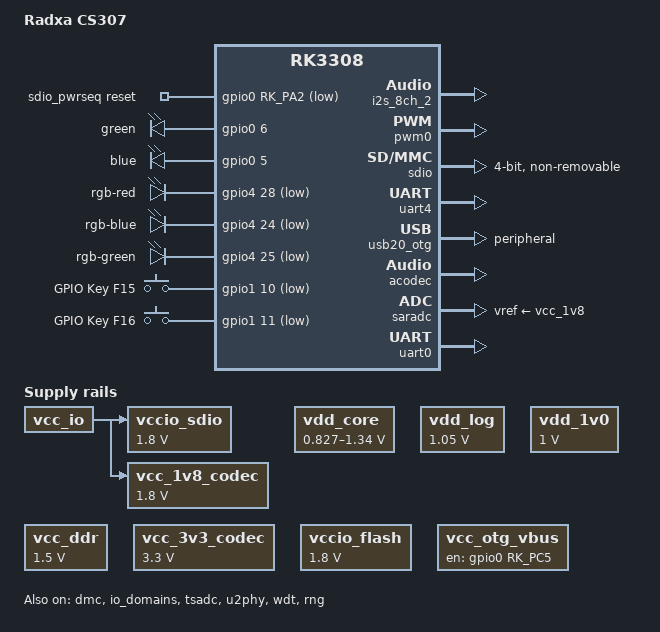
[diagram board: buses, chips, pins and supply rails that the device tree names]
// SPDX-License-Identifier: (GPL-2.0+ OR MIT)
/*
 * Copyright (c) 2018 Fuzhou Rockchip Electronics Co., Ltd
 */

/dts-v1/;

#include <dt-bindings/input/input.h>
/* #include "rk3308.dtsi" */
#include "rk3308k.dtsi"

/ {
	model = "Radxa CS307";
	compatible = "radxa,cs307", "rockchip,rk3308";
	
	sdio_pwrseq: sdio-pwrseq {
		compatible = "mmc-pwrseq-simple";
		pinctrl-names = "default";
		pinctrl-0 = <&wifi_enable_h>;

		/*
		 * On the module itself this is one of these (depending
		 * on the actual card populated):
		 * - SDIO_RESET_L_WL_REG_ON
		 * - PDN (power down when low)
		 */
		reset-gpios = <&gpio0 RK_PA2 GPIO_ACTIVE_LOW>;
	};

	dummy_codec: dummy-codec {
		compatible = "rockchip,dummy-codec";
		#sound-dai-cells = <0>;
	};

	vdd_core: vdd-core {
		compatible = "pwm-regulator";
		pwms = <&pwm0 0 5000 1>;
		regulator-name = "vdd_core";
		regulator-min-microvolt = <827000>;
		regulator-max-microvolt = <1340000>;
		regulator-init-microvolt = <1015000>;
		regulator-always-on;
		regulator-boot-on;
		regulator-settling-time-up-us = <250>;
		status = "okay";
	};

	vdd_log: vdd-log {
		compatible = "regulator-fixed";
		regulator-name = "vdd_log";
		regulator-always-on;
		regulator-boot-on;
		regulator-min-microvolt = <1050000>;
		regulator-max-microvolt = <1050000>;
	};

	vdd_1v0: vdd-1v0 {
		compatible = "regulator-fixed";
		regulator-name = "vdd_1v0";
		regulator-always-on;
		regulator-boot-on;
		regulator-min-microvolt = <1000000>;
		regulator-max-microvolt = <1000000>;
	};

	vccio_sdio: vcc_1v8: vcc-1v8 {
		compatible = "regulator-fixed";
		regulator-name = "vcc_1v8";
		regulator-always-on;
		regulator-boot-on;
		regulator-min-microvolt = <1800000>;
		regulator-max-microvolt = <1800000>;
		vin-supply = <&vcc_io>;
	};

	vcc_1v8_codec: vcc-1v8-codec {
		compatible = "regulator-fixed";
		regulator-name = "vcc_1v8_codec";
		regulator-always-on;
		regulator-boot-on;
		regulator-min-microvolt = <1800000>;
		regulator-max-microvolt = <1800000>;
		vin-supply = <&vcc_io>;
	};

	vcc_ddr: vcc-ddr {
		compatible = "regulator-fixed";
		regulator-name = "vcc_ddr";
		regulator-always-on;
		regulator-boot-on;
		regulator-min-microvolt = <1500000>;
		regulator-max-microvolt = <1500000>;
	};

	vcc_3v3_codec: vcc_io: vcc-io {
		compatible = "regulator-fixed";
		regulator-name = "vcc_io";
		regulator-always-on;
		regulator-boot-on;
		regulator-min-microvolt = <3300000>;
		regulator-max-microvolt = <3300000>;
	};

	vccio_flash: vccio-flash {
		compatible = "regulator-fixed";
		regulator-name = "vccio_flash";
		regulator-always-on;
		regulator-boot-on;
		regulator-min-microvolt = <1800000>;
		regulator-max-microvolt = <1800000>;
	};

	vcc_otg_vbus: otg-vbus-regulator {
		compatible = "regulator-fixed"; 
		enable-active-high;
		gpio = <&gpio0 RK_PC5 GPIO_ACTIVE_HIGH>;
		pinctrl-names = "default";
		pinctrl-0 = <&otg_vbus_drv>;
		regulator-name = "vcc_otg_vbus";
	};

	bt_uart4: wireless_bluetooth: wireless-bluetooth {
		compatible = "bluetooth-platdata";
		uart_rts_gpios = <&gpio4 RK_PA7 GPIO_ACTIVE_LOW>;
		pinctrl-names = "default", "rts_gpio";
		pinctrl-0 = <&uart4_rts>;
		pinctrl-1 = <&uart4_rts_gpio>;
		BT,power_gpio    = <&gpio4 RK_PB3 GPIO_ACTIVE_HIGH>;
		BT,wake_host_irq = <&gpio4 RK_PB4 GPIO_ACTIVE_HIGH>;
		status = "disabled";
	};

	wireless_wlan: wireless-wlan {
		compatible = "wlan-platdata";
		rockchip,grf = <&grf>;
		pinctrl-names = "default";
		pinctrl-0 = <&wifi_wake_host>;
		//wifi_chip_type = "ap6256";
		WIFI,host_wake_irq = <&gpio0 RK_PA0 GPIO_ACTIVE_HIGH>;
		status = "disabled";
	};


	gpio-leds {
		compatible = "gpio-leds";
		status = "okay";

		green-led {
			label = "green";
			gpios = <&gpio0 6 GPIO_ACTIVE_HIGH>;
			linux,default-trigger = "none";
			default-state = "off";
		};

		blue-led {
			label = "blue";
			gpios = <&gpio0 5 GPIO_ACTIVE_HIGH>;
			linux,default-trigger = "none";
			default-state = "off";
		};
		
		rgb-red {
			label = "rgb-red";
			gpios = <&gpio4 28 GPIO_ACTIVE_LOW>;
			linux,default-trigger = "none";
			default-state = "off";
		};

		rgb-blue {
			label = "rgb-blue";
			gpios = <&gpio4 24 GPIO_ACTIVE_LOW>;
			linux,default-trigger = "none";
			default-state = "off";
		};

		rgb-green {
			label = "rgb-green";
			gpios = <&gpio4 25 GPIO_ACTIVE_LOW>;
			linux,default-trigger = "default-on";
			default-state = "on";
		};
	};

    gpio-keys {
        compatible = "gpio-keys";
        #address-cells = <1>;
        #size-cells = <0>;
        autorepeat;
        pinctrl-names = "default";
        pinctrl-0 = <&pwrbtn>;
                 
        F15 {
             gpios = <&gpio1 10 GPIO_ACTIVE_LOW>;
             linux,code = <KEY_F15>;
             label = "GPIO Key F15";
             linux,input-type = <1>;
             gpio-key,wakeup = <1>;
             debounce-interval = <100>;
        };
        F16 {
             gpios = <&gpio1 11 GPIO_ACTIVE_LOW>;
             linux,code = <KEY_F16>;
             label = "GPIO Key F16";
             linux,input-type = <1>;
             gpio-key,wakeup = <1>;
             debounce-interval = <100>;
        };
    };

	acodec_sound: acodec-sound {
		compatible = "rockchip,multicodecs-card";
		rockchip,card-name = "rockchip,rk3308-acodec";
		rockchip,codec-hp-det;
		rockchip,mclk-fs = <256>;
		rockchip,cpu = <&i2s_8ch_2>;
		rockchip,codec = <&acodec>;
     };
};

&cpu0 {
	cpu-supply = <&vdd_core>;
};

&dmc {
	center-supply = <&vdd_log>;
	status = "okay";
};

&emmc {
	bus-width = <8>;
	cap-mmc-highspeed;
	supports-emmc;
	disable-wp;
	non-removable;
	num-slots = <1>;
	status = "disabled";
};

&io_domains {
	status = "okay";

	vccio0-supply = <&vcc_io>;
	vccio1-supply = <&vcc_io>;
	vccio2-supply = <&vcc_1v8>;
	vccio3-supply = <&vccio_flash>;
	vccio4-supply = <&vccio_sdio>;
	vccio5-supply = <&vcc_io>;
};
 
&i2s_8ch_2 {
	status = "okay";
	#sound-dai-cells = <0>;
};

&pinctrl {
	pinctrl-names = "default";
	pinctrl-0 = <&rtc_32k>;

	buttons {
		mic_mute: mic-mute {
			rockchip,pins = <0 RK_PC0 RK_FUNC_GPIO &pcfg_pull_up>;
		};
	};

    key {
        pwrbtn:pwrbtn {
            rockchip,pins = 
                <1 RK_PB2 RK_FUNC_GPIO &pcfg_pull_up>,  //GPIO1_B2
                <1 RK_PB3 RK_FUNC_GPIO &pcfg_pull_up>;  //GPIO1_B3
        };
    };

	usb {
		otg_vbus_drv: otg-vbus-drv {
			rockchip,pins = <0 RK_PC5 RK_FUNC_GPIO &pcfg_pull_none>;
		};
	};
	rotary {
		rotary_gpio: rotary-gpio {
			rockchip,pins =
				<2 RK_PB3 RK_FUNC_GPIO &pcfg_pull_none>,
				<2 RK_PB4 RK_FUNC_GPIO &pcfg_pull_none>;
		};
	};
	sdio-pwrseq {
		wifi_enable_h: wifi-enable-h {
			rockchip,pins = <0 RK_PA2 RK_FUNC_GPIO &pcfg_pull_none>;
		};
	};

	wireless-wlan {
		wifi_wake_host: wifi-wake-host {
			rockchip,pins = <0 RK_PA0 RK_FUNC_GPIO &pcfg_pull_down>;
		};
	};
};

&pwm0 {
	status = "okay";
	pinctrl-names = "active";
	pinctrl-0 = <&pwm0_pin_pull_down>;
};

&rockchip_suspend {
	rockchip,pwm-regulator-config = <
		(0
		| RKPM_PWM_REGULATOR
		)
	>;

	status = "okay";
};

&sdio {
	max-frequency = <110000000>;
	bus-width = <4>;
	cap-sd-highspeed;
	supports-sdio; 
	ignore-pm-notify;
	keep-power-in-suspend;
	non-removable;
	mmc-pwrseq = <&sdio_pwrseq>;
	sd-uhs-sdr104;
	status = "okay";
};

&tsadc {
	rockchip,hw-tshut-mode = <0>;		/* 0:CRU */
	rockchip,hw-tshut-polarity = <1>;	/* 1:HIGH */
	status = "okay";
};

&u2phy {
	status = "okay";

	u2phy_host: host-port {
		phy-supply = <&vcc_otg_vbus>;
		status = "okay";
	};

	u2phy_otg: otg-port {
		vbus-supply = <&vcc_otg_vbus>;
        rockchip,vbus-always-on;
		status = "okay";
	};
};

&uart4 {
	pinctrl-names = "default";
	pinctrl-0 = <&uart4_xfer &uart4_cts>;
	status = "okay";
};

&usb20_otg {
	dr_mode = "peripheral";
	status = "okay";
};

&acodec {
	status = "okay";
};

&thermal_zones {
	soc_thermal {
		thermal-sensors = <&tsadc 0>;
	};
};

&wdt {
	status = "okay";
};

&saradc {
	status = "okay";
	vref-supply = <&vcc_1v8>;
};

&uart0 {
    status = "okay";
};

&rng {
    status = "okay";
};
